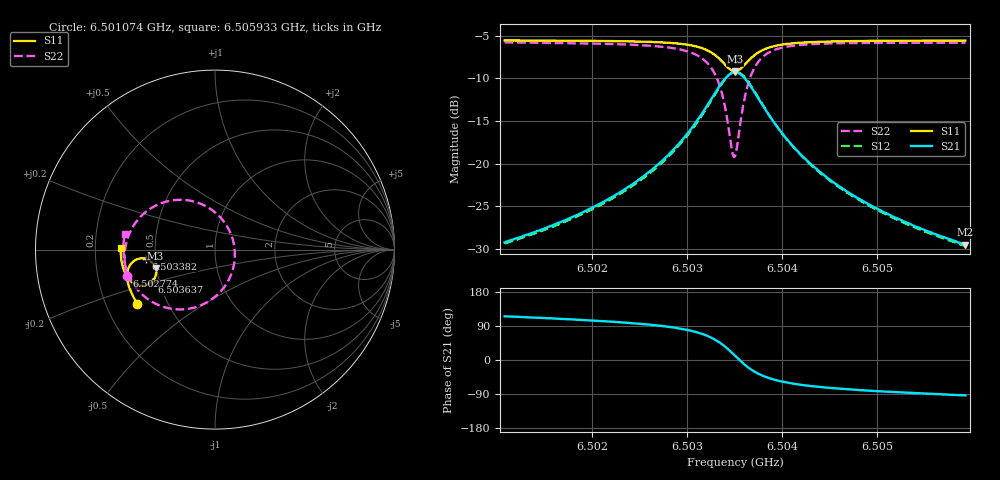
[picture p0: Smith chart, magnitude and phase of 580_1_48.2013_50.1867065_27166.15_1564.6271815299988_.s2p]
#  HZ  S  RI  R  50.00
! Rohde & Schwarz Vector Network Analyzer
! Rohde-Schwarz,ZNB20-2Port,1311601062101988,3.16
! Created: UTC 3/20/2024, 12:02:03 PM
! freq[Hz]  re:S11  im:S11  re:S21  im:S21  re:S12  im:S12  re:S22  im:S22
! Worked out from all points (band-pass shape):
!   401 points, 6.501074 GHz to 6.505933 GHz, reference 50 ohm
!   highest |S21| = -9.30 dB at 6.503503 GHz (marker M1); lowest = -29.5 dB at 6.505933 GHz (marker M2)
!   |S21| within 3 dB of the highest: 6.503261 GHz to 6.503747 GHz (485.8 kHz wide, 0.00747 % of centre)
!   lowest |S11| = -9.2 dB at 6.503503 GHz (marker M3), VSWR 2.06, Z = 24.7 - j5.74 ohm
!   |S11| at or under -10 dB: nowhere
!   |S22| runs from -19.2 to -5.8 dB; largest |S21 - S12| = 0.012
!   S11 on the Smith chart (normalised r, x): 6.501074 GHz: 0.34, -0.28; 6.502774 GHz: 0.33, -0.13; 6.503382 GHz: 0.44, -0.05; 6.503637 GHz: 0.45, -0.19; 6.505933 GHz: 0.31, +0.01
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6.5010736e9  -0.4318 -0.3021  -0.0148 0.0312  -0.013 0.0314  -0.4925 -0.1446
6.5018876e9  -0.4661 -0.2407  -0.0139 0.0496  -0.0116 0.0492  -0.5039 -0.0563
6.5023249e9  -0.481 -0.2013  -0.011 0.0689  -0.00794 0.0678  -0.4999 0.0076
6.5027016e9  -0.4895 -0.1586  -0.00118 0.0999  0.00234 0.0976  -0.4785 0.0853
6.5027745e9  -0.49 -0.1486  0.00272 0.1089  0.0064 0.1062  -0.4697 0.1048
6.502981e9  -0.4861 -0.1151  0.0244 0.143  0.028 0.1387  -0.4248 0.1725
6.5031389e9  -0.4711 -0.083  0.0641 0.1793  0.0669 0.1735  -0.3473 0.2362
6.5032847e9  -0.4328 -0.0531  0.1468 0.2082  0.1473 0.2021  -0.1972 0.2775
6.5033333e9  -0.4114 -0.0483  0.1896 0.2068  0.1896 0.2014  -0.122 0.2689
6.5033819e9  -0.3858 -0.0504  0.2389 0.1916  0.2391 0.187  -0.0374 0.2341
6.503467e9  -0.3422 -0.0799  0.3181 0.1162  0.3208 0.1124  0.0889 0.086
6.5035034e9  -0.3312 -0.1023  0.3361 0.0669  0.3399 0.0619  0.11 -0.0066
6.5035277e9  -0.3283 -0.1188  0.3396 0.0319  0.3439 0.0253  0.1078 -0.0706
6.5035642e9  -0.3304 -0.1433  0.3323 -0.019  0.3361 -0.0276  0.0805 -0.1608
6.503637e9  -0.353 -0.1809  0.285 -0.0962  0.2853 -0.1077  -0.0308 -0.2858
6.5037464e9  -0.399 -0.2016  0.1968 -0.1422  0.1918 -0.1521  -0.2093 -0.333
6.5039043e9  -0.4469 -0.1921  0.1121 -0.1382  0.1049 -0.1435  -0.3623 -0.2841
6.5040744e9  -0.475 -0.1707  0.0659 -0.1169  0.0596 -0.1194  -0.4366 -0.2168
6.5043174e9  -0.496 -0.1409  0.0349 -0.0914  0.0301 -0.0919  -0.4813 -0.1428
6.5047062e9  -0.5126 -0.0996  0.0146 -0.0658  0.0113 -0.0655  -0.5049 -0.0629
6.5051314e9  -0.5213 -0.0596  0.00534 -0.0499  0.00297 -0.0492  -0.5106 -0.00129
6.5059332e9  -0.5265 0.0087  -0.00201 -0.0335  -0.00338 -0.0326  -0.5034 0.0856
